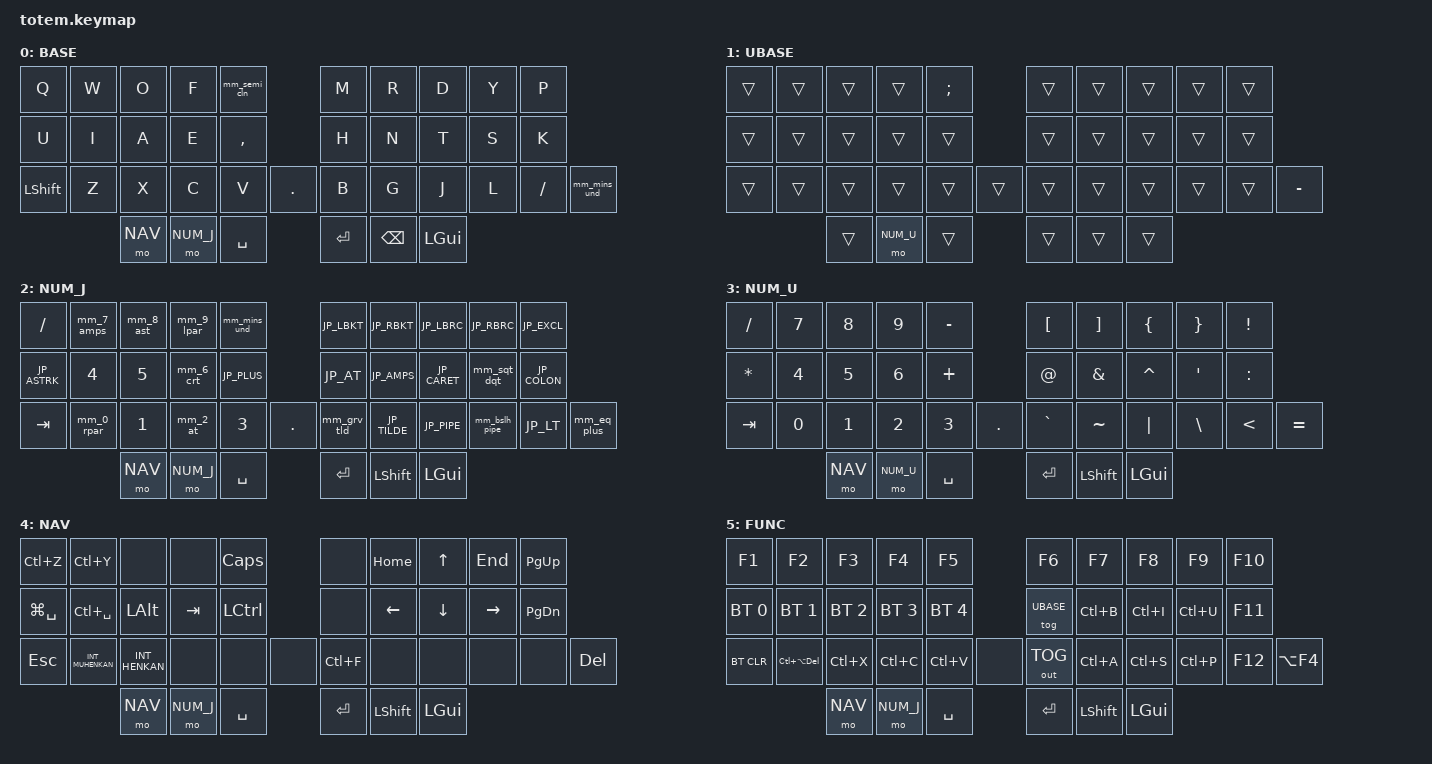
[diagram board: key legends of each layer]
/*
 * TOTEM (38-key) ZMK keymap
 * Base: original_frequency_layout (custom Eucalyn-derived romaji layout)
 * Designed with Claude, 2026-07
 *
 * Verified against the official GEIGEIGEIST/zmk-config-totem/config/totem.keymap
 * physical matrix layout (fetched 2026-07-01):
 *
 *   Row1 (top):    5 left + 5 right                = 10 keys
 *   Row2 (home):   5 left + 5 right                = 10 keys
 *   Row3 (bottom): 1 outer-pinky + 5 left + 5 right + 1 outer-pinky = 12 keys
 *   Row4 (thumbs): 3 left + 3 right                = 6 keys
 *   TOTAL = 38 keys
 *
 * IMPORTANT: the outer pinky key sits at the START of row3 on the left hand
 * and the END of row3 on the right hand (confirmed from official source),
 * NOT as a separate row as in earlier drafts of this file.
 *
 * NOTE on layer comments below: for readability, the outer-pinky pair is
 * drawn as its own visual row ("Pinky" line) between Row3 and the thumbs,
 * even though in the bindings they are physically part of the 12-key Row3.
 *
 * Layers:
 *   0: BASE   - original_frequency_layout + thumbs (JIS-mode shift pairs)
 *   1: UBASE  - US-mode overlay, toggled via FUNC. Only 3 keys differ from
 *               BASE (see layer comment); everything else is &trans.
 *   2: NUM_J  - Numpad/Symbols for JIS-configured OS (JP_* codes + morphs)
 *   3: NUM_U  - Numpad/Symbols for US-configured OS (plain codes)
 *   4: NAV    - Nav/Editing, held via left thumb key 2 (&mo NAV)
 *   5: FUNC   - Fkeys/Special/BT/mode toggle, via NUM+NAV tri-layer
 *
 * ------------------------------------------------------------------
 * v6 (2026-07): JIS-mode US emulation
 *   OS side stays on 日本語キーボード(106/109). The keymap sends
 *   JIS-interpreted keycodes (keys_jp.h aliases) so that the OUTPUT
 *   matches US layout exactly, including shifted pairs.
 *   - keys_jp.h (same directory) provides JP_* aliases.
 *   - 12 mod-morphs implement US-style Shift pairs where JIS differs:
 *       Base : ;/:  -/_
 *       NUM_J: '/"  `/~  \/|  =/+  2/@  6/^  7/&  8/*  9/(  0/)
 *   - mod-morph masks the physical Shift automatically, then the
 *     morphed binding applies its own LS() where JIS needs it.
 *   - Unchanged because JIS == US for these shift pairs:
 *       ,/<  ./>  //?  1/!  3/#  4/$  5/%
 *   - NOTE: plain GRAVE keycode acts as 半角/全角 on JIS OS. Not used
 *     anywhere in this keymap; IME toggle is Ctrl+Space (already on NAV).
 *
 * v7 (2026-07): JIS/US dual mode
 *   - Added UBASE overlay + NUM_U layer for US-configured hosts.
 *   - Mode toggle (&tog UBASE) on FUNC, right hand H-column Row2,
 *     directly above OUT_TOG (output-related toggles share a column).
 *   - Tri-layer condition duplicated for both NUM variants.
 *   - Layer state is NOT persistent: after power-off/reset the keyboard
 *     always boots in JIS mode (UBASE off). No visual indicator; verify
 *     mode by typing Shift+; and checking the output.
 *   - Verified 2026-07: JIS mode on JIS host (all keys), US mode on JIS
 *     host (expected mojibake pattern = toggle works), US mode on US host
 *     (all keys). Fully operational in both environments.
 *
 * v8 (2026-07): NUM hands swapped + FUNC edit keys rearranged
 *   - NUM_J/NUM_U: left and right 5x3 blocks swapped. Numbers and
 *     operators now on the LEFT hand, brackets/symbols on the RIGHT.
 *     Right-thumb Shift + left-hand numbers is now a two-hand combo.
 *     Pinky keys (TAB / =) and thumbs unchanged. All mod-morphs move
 *     with their keys; behavior identical, position only.
 *   - FUNC: Ctrl+B/I/U <-> Ctrl+C/X/V swapped between hands, and the
 *     paste group reordered to X,C,V so that each aligns with the BASE
 *     letter column (Ctrl+X on X, Ctrl+C on C, Ctrl+V on V) - nothing
 *     new to memorize. Left-hand-only copy/paste now works while the
 *     right hand stays on the mouse (NUM+NAV thumbs + X/C/V are all
 *     left-hand). Format keys B/I/U move to right home row.
 *
 * v9 (2026-07): NAV PgDn moved up one row
 *   - PgDn: Row3 K-column -> Row2 K-column (was &none). PgUp/PgDn now
 *     stack vertically in the K-column, mirroring the Up/Down pair.
 *     Old Row3 position becomes &none.
 *
 * v10 (2026-07): NAV Ctrl added
 *   - LCTRL on Row2 right of Tab (was &none). Held together with the
 *     NAV thumb, this enables Ctrl+arrow / Ctrl+Home/End / Ctrl+PgUp/PgDn
 *     combos (word jump, document jump, browser tab switch) without
 *     leaving the NAV layer. Also usable as Ctrl+Tab via same-row Tab.
 *
 * v11 (2026-07): NAV Ctrl+P -> CapsLock
 *   - Row1 ';'-column: &kp LC(P) -> &kp CAPS. Print is still available
 *     on FUNC (right hand Row3), so nothing is lost.
 *   - NOTE for JIS hosts: Windows with the Japanese keyboard layout
 *     traditionally requires Shift+CapsLock (the 英数 key behaviour) to
 *     toggle caps; plain HID 0x39 may do nothing depending on the
 *     Windows version and IME state. If the key appears dead on the
 *     JIS-configured PC, change this binding to &kp LS(CAPS) - or use a
 *     mod-morph if both hosts need to be covered by one binding.
 * ------------------------------------------------------------------
 */

#include <behaviors.dtsi>
#include <dt-bindings/zmk/keys.h>
#include <dt-bindings/zmk/bt.h>
#include <dt-bindings/zmk/outputs.h>
#include "keys_jp.h"

#define BASE  0
#define UBASE 1
#define NUM_J 2
#define NUM_U 3
#define NAV   4
#define FUNC  5

/* Shorthand for mod-morph definitions (US-style shift pair on JIS OS) */
#define US_MORPH(name, unshifted, shifted)                    \
    name: name {                                              \
        compatible = "zmk,behavior-mod-morph";                \
        #binding-cells = <0>;                                 \
        bindings = <&kp unshifted>, <&kp shifted>;            \
        mods = <(MOD_LSFT|MOD_RSFT)>;                         \
    }

/ {
    // Tri-layer: holding NUM + NAV together activates FUNC.
    // Duplicated for both NUM variants so FUNC is reachable in either
    // mode regardless of which NUM layer the thumb activated.
    conditional_layers {
        compatible = "zmk,conditional-layers";
        tri_layer_jis {
            if-layers = <NUM_J NAV>;
            then-layer = <FUNC>;
        };
        tri_layer_us {
            if-layers = <NUM_U NAV>;
            then-layer = <FUNC>;
        };
    };

    behaviors {
        /* --- BASE layer (JIS mode) --- */
        US_MORPH(mm_semi_cln,  JP_SEMI,  JP_COLON);  /* ; : */
        US_MORPH(mm_mins_und,  JP_MINUS, JP_UNDER);  /* - _ */

        /* --- NUM_J layer: symbols --- */
        US_MORPH(mm_sqt_dqt,   JP_SQT,   JP_DQT);    /* ' " */
        US_MORPH(mm_grv_tld,   JP_GRAVE, JP_TILDE);  /* ` ~ */
        US_MORPH(mm_bslh_pipe, JP_BSLH,  JP_PIPE);   /* \ | */
        US_MORPH(mm_eq_plus,   JP_EQUAL, JP_PLUS);   /* = + */

        /* --- NUM_J layer: US-style Shift+number --- */
        US_MORPH(mm_2_at,      N2,       JP_AT);     /* 2 @ */
        US_MORPH(mm_6_crt,     N6,       JP_CARET);  /* 6 ^ */
        US_MORPH(mm_7_amps,    N7,       JP_AMPS);   /* 7 & */
        US_MORPH(mm_8_ast,     N8,       JP_ASTRK);  /* 8 * */
        US_MORPH(mm_9_lpar,    N9,       JP_LPAR);   /* 9 ( */
        US_MORPH(mm_0_rpar,    N0,       JP_RPAR);   /* 0 ) */
    };

    keymap {
        compatible = "zmk,keymap";

        layer_base {
            label = "BASE";
            // ------------------------------------------------------------------
            // Row1:  Q    W    O    F    ;   |   M    R    D    Y    P
            // Row2:  U    I    A    E    ,   |   H    N    T    S    K
            // Row3:  Z    X    C    V    .   |   B    G    J    L    /
            // Pinky: Shift                   |                       -
            // Thumb: Layer2(NAV)  Layer1(NUM_J)  Space | Enter  BS  Win
            // (2026-07 update: I<->, swap and F<->. swap based on
            //  heatmap analysis + user's subjective comfort. , and . are
            //  now vertically aligned so Shift gives < and > in a column.
            //  v3 update: I <-> O swap, home row vowels are now U I A E.
            //  v4 update after first hands-on: BS <-> Shift swapped
            //  (Shift to outer pinky, BS to thumb), NAV/NUM thumbs swapped.
            //  v6 update: ; and - are now mod-morphs so Shift gives : and _
            //  on a JIS-configured OS, exactly like US layout.)
            // ------------------------------------------------------------------
            bindings = <
&kp Q      &kp W      &kp O      &kp F      &mm_semi_cln      &kp M      &kp R      &kp D      &kp Y      &kp P
&kp U      &kp I      &kp A      &kp E      &kp COMMA         &kp H      &kp N      &kp T      &kp S      &kp K
&kp LSHFT  &kp Z      &kp X      &kp C      &kp V      &kp DOT &kp B     &kp G      &kp J      &kp L      &kp FSLH   &mm_mins_und
                       &mo NAV    &mo NUM_J  &kp SPACE         &kp RET    &kp BSPC   &kp LGUI
            >;
        };

        layer_ubase {
            label = "UBASE";
            // ------------------------------------------------------------------
            // US-mode overlay, toggled from FUNC (&tog UBASE).
            // Only 3 keys differ from BASE; all others are &trans so any
            // future BASE layout change automatically applies here too:
            //   Row1 ';'   : mod-morph not needed -> plain SEMI
            //                (US OS natively gives ; / Shift -> :)
            //   Pinky '-'  : mod-morph not needed -> plain MINUS
            //                (US OS natively gives - / Shift -> _)
            //   NUM thumb  : &mo NUM_U instead of &mo NUM_J
            // ------------------------------------------------------------------
            bindings = <
&trans     &trans     &trans     &trans     &kp SEMI          &trans     &trans     &trans     &trans     &trans
&trans     &trans     &trans     &trans     &trans            &trans     &trans     &trans     &trans     &trans
&trans     &trans     &trans     &trans     &trans     &trans &trans     &trans     &trans     &trans     &trans     &kp MINUS
                       &trans     &mo NUM_U  &trans            &trans     &trans     &trans
            >;
        };

        layer_num_jis {
            label = "NUM_J";
            // ------------------------------------------------------------------
            // Row1:  /    7    8    9    -   |   [    ]    {    }    !
            // Row2:  *    4    5    6    +   |   @    &    ^    '    :
            // Row3:  0    1    2    3    .   |   `    ~    |    \    <
            // Pinky: TAB                     |                       =
            // (v5: right hand operators rearranged calculator-style.
            //  DQT removed from this layer; type it as Shift + ' instead.
            //  v6: all symbols converted to JP_* codes for JIS OS.
            //  Shift+number gives US symbols via mod-morph:
            //  Shift+ 2 6 7 8 9 0 -> @ ^ & * ( ) . Shift+ 1 3 4 5 are
            //  already US-identical on JIS. Shift+ ' ` \ = -> " ~ | +.
            //  v8: left/right 5x3 blocks swapped. Numbers+operators on the
            //  left hand, brackets/symbols on the right. Right-thumb Shift
            //  + left-hand number is now a comfortable two-hand combo.)
            // Thumb: Layer2  Layer1  Space   |   Enter  Shift  Win
            // ------------------------------------------------------------------
            bindings = <
&kp FSLH    &mm_7_amps  &mm_8_ast   &mm_9_lpar  &mm_mins_und    &kp JP_LBKT &kp JP_RBKT &kp JP_LBRC &kp JP_RBRC &kp JP_EXCL
&kp JP_ASTRK &kp N4     &kp N5      &mm_6_crt   &kp JP_PLUS     &kp JP_AT   &kp JP_AMPS &kp JP_CARET &mm_sqt_dqt &kp JP_COLON
&kp TAB    &mm_0_rpar  &kp N1      &mm_2_at    &kp N3     &kp DOT &mm_grv_tld &kp JP_TILDE &kp JP_PIPE &mm_bslh_pipe &kp JP_LT &mm_eq_plus
                       &mo NAV    &mo NUM_J  &kp SPACE         &kp RET    &kp LSHFT  &kp LGUI
            >;
        };

        layer_num_us {
            label = "NUM_U";
            // ------------------------------------------------------------------
            // Same visual layout as NUM_J, but plain US keycodes.
            // On a US-configured OS, Shift+number natively produces US
            // symbols, so no mod-morphs are needed here.
            // Row1:  /    7    8    9    -   |   [    ]    {    }    !
            // Row2:  *    4    5    6    +   |   @    &    ^    '    :
            // Row3:  0    1    2    3    .   |   `    ~    |    \    <
            // Pinky: TAB                     |                       =
            // Thumb: Layer2  Layer1  Space   |   Enter  Shift  Win
            // ------------------------------------------------------------------
            bindings = <
&kp FSLH   &kp N7     &kp N8     &kp N9     &kp MINUS         &kp LBKT   &kp RBKT   &kp LBRC   &kp RBRC   &kp EXCL
&kp ASTRK  &kp N4     &kp N5     &kp N6     &kp PLUS          &kp AT     &kp AMPS   &kp CARET  &kp SQT    &kp COLON
&kp TAB    &kp N0     &kp N1     &kp N2     &kp N3     &kp DOT &kp GRAVE &kp TILDE  &kp PIPE   &kp BSLH   &kp LT     &kp EQUAL
                       &mo NAV    &mo NUM_U  &kp SPACE         &kp RET    &kp LSHFT  &kp LGUI
            >;
        };

        layer_nav {
            label = "NAV";
            // ------------------------------------------------------------------
            // Row1:  Ctrl+Z    Ctrl+Y     ---   ---   CapsLk | ---     Home  Up    End    PgUp
            // Row2:  Win+Space Ctrl+Space Alt   Tab   Ctrl | ---     Left  Down  Right  PgDn
            // Row3:  無変換    変換       ---   ---   ---    | Ctrl+F  ---   ---   ---    ---
            // Pinky: ESC                                     |                             Del
            // Thumb: Layer2  Layer1  Space                   | Enter  Shift  Win
            //
            // Arrow inverted-T on right hand (v4: moved up to home row):
            //   Row1: Up on T-column / Row2: Left(N) Down(T) Right(S)
            // (v6 note: Ctrl+Space here doubles as the IME 半角/全角 toggle
            //  per user's Windows IME configuration.
            //  v7 note: NUM thumb here points at NUM_J, but even in US mode
            //  the tri_layer_jis condition then lands on FUNC, so FUNC is
            //  reachable in both modes with either press order.)
            // ------------------------------------------------------------------
            bindings = <
&kp LC(Z)      &kp LC(Y)      &none      &none      &kp CAPS          &none      &kp HOME   &kp UP     &kp END    &kp PG_UP
&kp LG(SPACE)  &kp LC(SPACE)  &kp LALT   &kp TAB    &kp LCTRL         &none      &kp LEFT   &kp DOWN   &kp RIGHT  &kp PG_DN
&kp ESC        &kp INT_MUHENKAN &kp INT_HENKAN &none &none      &none &kp LC(F)  &none      &none      &none      &none      &kp DEL
                              &mo NAV    &mo NUM_J  &kp SPACE         &kp RET    &kp LSHFT  &kp LGUI
            >;
        };

        layer_func {
            label = "FUNC";
            // ------------------------------------------------------------------
            // Row1:  F1      F2      F3      F4      F5      | F6       F7      F8      F9      F10
            // Row2:  BT_0    BT_1    BT_2    BT_3    BT_4    | JIS/US   Ctrl+B  Ctrl+I  Ctrl+U  F11
            // Row3:  C+A+Del Ctrl+X  Ctrl+C  Ctrl+V  ---     | OUT_TOG  Ctrl+A  Ctrl+S  Ctrl+P  F12
            // Pinky: BT_CLR                                  |                                  Alt+F4
            // Thumb: Layer2  Layer1  Space                   | Enter  Shift  Win
            //
            // BT keys (2026-07 update, after first pairing troubleshoot):
            //   BT_SEL 0-4 on left home row: position = profile number, no memorizing.
            //   BT_CLR on left outer-pinky, C+A+Del next to it: dangerous keys
            //   grouped in the far-left corner. Alt+F4 stays on right outer-pinky.
            //   BT_CLR clears pairing of CURRENT profile only.
            //   OUT_TOG (USB/BLE output toggle) on right H-column bottom.
            // v7: JIS/US mode toggle (&tog UBASE) on right H-column Row2,
            //   directly above OUT_TOG: output-related toggles share a column.
            //   Defaults to JIS mode on every power-up (layer state is not
            //   persisted). Quick mode check: type Shift+; and see what comes out.
            // v8: Ctrl+X/C/V moved to LEFT Row3, aligned with the BASE letter
            //   columns (Ctrl+X on X, Ctrl+C on C, Ctrl+V on V - zero
            //   memorization). Left-hand-only copy/paste while the right hand
            //   is on the mouse. Ctrl+B/I/U (format keys) moved to right
            //   home row where Ctrl+C/X/V used to be.
            // ------------------------------------------------------------------
            bindings = <
&kp F1         &kp F2     &kp F3     &kp F4     &kp F5            &kp F6      &kp F7     &kp F8     &kp F9     &kp F10
&bt BT_SEL 0   &bt BT_SEL 1 &bt BT_SEL 2 &bt BT_SEL 3 &bt BT_SEL 4 &tog UBASE &kp LC(B)  &kp LC(I)  &kp LC(U)  &kp F11
&bt BT_CLR     &kp LC(LA(DEL)) &kp LC(X) &kp LC(C) &kp LC(V) &none &out OUT_TOG &kp LC(A) &kp LC(S) &kp LC(P) &kp F12  &kp LA(F4)
                          &mo NAV    &mo NUM_J  &kp SPACE         &kp RET    &kp LSHFT  &kp LGUI
            >;
        };
    };
};
